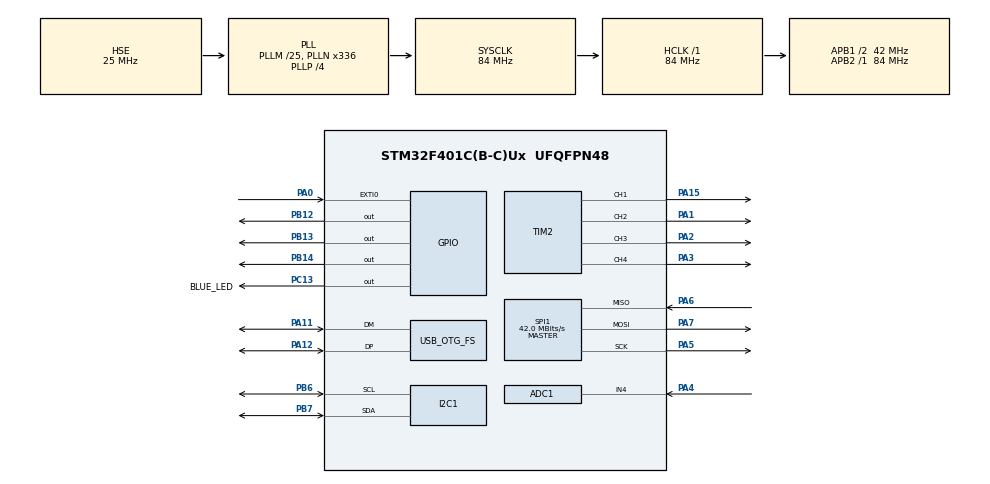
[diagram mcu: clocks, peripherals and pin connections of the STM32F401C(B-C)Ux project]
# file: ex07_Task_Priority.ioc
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ADC1.Channel-2\#ChannelRegularConversion=ADC_CHANNEL_4
ADC1.NbrOfConversionFlag=1
ADC1.Rank-2\#ChannelRegularConversion=1
ADC1.SamplingTime-2\#ChannelRegularConversion=ADC_SAMPLETIME_3CYCLES
ADC1.master=1
Mcu.Family=STM32F4
Mcu.Name=STM32F401C(B-C)Ux
Mcu.Package=UFQFPN48
NVIC.EXTI0_IRQn=true\:6\:0\:true\:false\:true\:true\:true\:true
NVIC.OTG_FS_IRQn=true\:0\:0\:true\:false\:true\:false\:true\:true
NVIC.PriorityGroup=NVIC_PRIORITYGROUP_4
NVIC.TIM1_UP_TIM10_IRQn=true\:15\:0\:false\:false\:true\:false\:true\:true
NVIC.TimeBase=TIM1_UP_TIM10_IRQn
NVIC.TimeBaseIP=TIM1
PA0-WKUP.GPIO_ModeDefaultEXTI=GPIO_MODE_IT_RISING
PA0-WKUP.GPIO_PuPd=GPIO_PULLUP
PA0-WKUP.Signal=GPXTI0
PA1.Signal=S_TIM2_CH2
PA11.Mode=Device_Only
PA11.Signal=USB_OTG_FS_DM
PA12.Mode=Device_Only
PA12.Signal=USB_OTG_FS_DP
PA13.Mode=Trace_Asynchronous_SW
PA13.Signal=SYS_JTMS-SWDIO
PA14.Mode=Trace_Asynchronous_SW
PA14.Signal=SYS_JTCK-SWCLK
PA15.Signal=S_TIM2_CH1_ETR
PA2.Signal=S_TIM2_CH3
PA3.Signal=S_TIM2_CH4
PA4.Signal=ADCx_IN4
PA5.Mode=Full_Duplex_Master
PA5.Signal=SPI1_SCK
PA6.Mode=Full_Duplex_Master
PA6.Signal=SPI1_MISO
PA7.Mode=Full_Duplex_Master
PA7.Signal=SPI1_MOSI
PB12.GPIO_PuPd=GPIO_PULLUP
PB12.PinState=GPIO_PIN_RESET
PB12.Signal=GPIO_Output
PB13.GPIO_PuPd=GPIO_PULLUP
PB13.PinState=GPIO_PIN_RESET
PB13.Signal=GPIO_Output
PB14.GPIO_PuPd=GPIO_PULLUP
PB14.PinState=GPIO_PIN_RESET
PB14.Signal=GPIO_Output
PB3.Mode=Trace_Asynchronous_SW
PB3.Signal=SYS_JTDO-SWO
PB6.Mode=I2C
PB6.Signal=I2C1_SCL
PB7.Mode=I2C
PB7.Signal=I2C1_SDA
PC13-ANTI_TAMP.GPIO_Label=BLUE_LED
PC13-ANTI_TAMP.GPIO_ModeDefaultOutputPP=GPIO_MODE_OUTPUT_OD
PC13-ANTI_TAMP.GPIO_PuPd=GPIO_NOPULL
PC13-ANTI_TAMP.PinState=GPIO_PIN_SET
PC13-ANTI_TAMP.Signal=GPIO_Output
PC14-OSC32_IN.Mode=LSE-External-Oscillator
PC14-OSC32_IN.Signal=RCC_OSC32_IN
PC15-OSC32_OUT.Mode=LSE-External-Oscillator
PC15-OSC32_OUT.Signal=RCC_OSC32_OUT
PH0\ -\ OSC_IN.Mode=HSE-External-Oscillator
PH0\ -\ OSC_IN.Signal=RCC_OSC_IN
PH1\ -\ OSC_OUT.Mode=HSE-External-Oscillator
PH1\ -\ OSC_OUT.Signal=RCC_OSC_OUT
ProjectManager.HeapSize=0x200
ProjectManager.StackSize=0x400
ProjectManager.TargetToolchain=STM32CubeIDE
RCC.48MHZClocksFreq_Value=48000000
RCC.AHBFreq_Value=84000000
RCC.APB1CLKDivider=RCC_HCLK_DIV2
RCC.APB1Freq_Value=42000000
RCC.APB1TimFreq_Value=84000000
RCC.APB2Freq_Value=84000000
RCC.APB2TimFreq_Value=84000000
RCC.CortexFreq_Value=84000000
RCC.HCLKFreq_Value=84000000
RCC.HSE_VALUE=25000000
RCC.HSI_VALUE=16000000
RCC.PLLM=25
RCC.PLLN=336
RCC.PLLP=RCC_PLLP_DIV4
RCC.PLLQ=7
RCC.SYSCLKFreq_VALUE=84000000
RCC.SYSCLKSource=RCC_SYSCLKSOURCE_PLLCLK
RCC.VCOOutputFreq_Value=336000000
SH.ADCx_IN4.0=ADC1_IN4,IN4
SH.S_TIM2_CH1_ETR.0=TIM2_CH1,PWM Generation1 CH1
SH.S_TIM2_CH2.0=TIM2_CH2,PWM Generation2 CH2
SH.S_TIM2_CH3.0=TIM2_CH3,PWM Generation3 CH3
SH.S_TIM2_CH4.0=TIM2_CH4,PWM Generation4 CH4
SPI1.BaudRatePrescaler=SPI_BAUDRATEPRESCALER_2
SPI1.CalculateBaudRate=42.0 MBits/s
SPI1.Direction=SPI_DIRECTION_2LINES
SPI1.Mode=SPI_MODE_MASTER
SPI1.VirtualType=VM_MASTER
TIM2.Channel-PWM\ Generation1\ CH1=TIM_CHANNEL_1
TIM2.Channel-PWM\ Generation2\ CH2=TIM_CHANNEL_2
TIM2.Channel-PWM\ Generation3\ CH3=TIM_CHANNEL_3
TIM2.Channel-PWM\ Generation4\ CH4=TIM_CHANNEL_4
USB_DEVICE.CLASS_NAME_FS=CDC
USB_DEVICE.VirtualMode=Cdc
USB_DEVICE.VirtualModeFS=Cdc_FS
USB_OTG_FS.VirtualMode=Device_Only
VP_SYS_VS_tim1.Mode=TIM1
VP_USB_DEVICE_VS_USB_DEVICE_CDC_FS.Mode=CDC_FS
board=custom

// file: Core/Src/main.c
/* USER CODE BEGIN Header */
/**
  ******************************************************************************
  * @file           : main.c
  * @brief          : Main program body
  ******************************************************************************
  * @attention
  *
  * Copyright (c) 2022 STMicroelectronics.
  * All rights reserved.
  *
  * This software is licensed under terms that can be found in the LICENSE file
  * in the root directory of this software component.
  * If no LICENSE file comes with this software, it is provided AS-IS.
  *
  ******************************************************************************
  */
/* USER CODE END Header */
#include "main.h"
#include "adc.h"
#include "i2c.h"
#include "spi.h"
#include "tim.h"
#include "usb_device.h"
#include "gpio.h"

/* USER CODE BEGIN Includes */
#include "dwt_delay.h"
#include "FreeRTOS.h"
#include "task.h"
#include "usbd_cdc_if.h"
/* USER CODE END Includes */

/* USER CODE BEGIN PV */
TaskHandle_t task1_handle;
TaskHandle_t task2_handle;
volatile BaseType_t status_button = 0;
/* USER CODE END PV */

void SystemClock_Config(void);
/* USER CODE BEGIN PFP */
static void task1_handler(void *parameters);
static void task2_handler(void *parameters);
/* USER CODE END PFP */

int main(void)
{
  /* USER CODE BEGIN 1 */
  BaseType_t status;
  /* USER CODE END 1 */

  /* MCU Configuration--------------------------------------------------------*/

  /* Reset of all peripherals, Initializes the Flash interface and the Systick. */
  HAL_Init();

  /* Configure the system clock */
  SystemClock_Config();

  /* Initialize all configured peripherals */
  MX_GPIO_Init();
  MX_ADC1_Init();
  MX_I2C1_Init();
  MX_SPI1_Init();
  MX_TIM2_Init();
  MX_USB_DEVICE_Init();
  /* USER CODE BEGIN 2 */
  SEGGER_UART_init(500000);
  DWT_Init();
  SEGGER_SYSVIEW_Conf();

  status = xTaskCreate(task1_handler, "task1", 200, NULL, 3, &task1_handle);
  configASSERT(status == pdPASS);

  status = xTaskCreate(task2_handler, "task2", 200, NULL, 2, &task2_handle);
  configASSERT(status == pdPASS);

  vTaskStartScheduler();
  /* USER CODE END 2 */

  /* Infinite loop */
  while (1)
  {

  }
}

void SystemClock_Config(void)
{
  RCC_OscInitTypeDef RCC_OscInitStruct = {0};
  RCC_ClkInitTypeDef RCC_ClkInitStruct = {0};

  /** Configure the main internal regulator output voltage
  */
  __HAL_RCC_PWR_CLK_ENABLE();
  __HAL_PWR_VOLTAGESCALING_CONFIG(PWR_REGULATOR_VOLTAGE_SCALE2);

  /** Initializes the RCC Oscillators according to the specified parameters
  * in the RCC_OscInitTypeDef structure.
  */
  RCC_OscInitStruct.OscillatorType = RCC_OSCILLATORTYPE_HSE;
  RCC_OscInitStruct.HSEState = RCC_HSE_ON;
  RCC_OscInitStruct.PLL.PLLState = RCC_PLL_ON;
  RCC_OscInitStruct.PLL.PLLSource = RCC_PLLSOURCE_HSE;
  RCC_OscInitStruct.PLL.PLLM = 25;
  RCC_OscInitStruct.PLL.PLLN = 336;
  RCC_OscInitStruct.PLL.PLLP = RCC_PLLP_DIV4;
  RCC_OscInitStruct.PLL.PLLQ = 7;
  if (HAL_RCC_OscConfig(&RCC_OscInitStruct) != HAL_OK)
  {
    Error_Handler();
  }

  /** Initializes the CPU, AHB and APB buses clocks
  */
  RCC_ClkInitStruct.ClockType = RCC_CLOCKTYPE_HCLK|RCC_CLOCKTYPE_SYSCLK
                              |RCC_CLOCKTYPE_PCLK1|RCC_CLOCKTYPE_PCLK2;
  RCC_ClkInitStruct.SYSCLKSource = RCC_SYSCLKSOURCE_PLLCLK;
  RCC_ClkInitStruct.AHBCLKDivider = RCC_SYSCLK_DIV1;
  RCC_ClkInitStruct.APB1CLKDivider = RCC_HCLK_DIV2;
  RCC_ClkInitStruct.APB2CLKDivider = RCC_HCLK_DIV1;

  if (HAL_RCC_ClockConfig(&RCC_ClkInitStruct, FLASH_LATENCY_2) != HAL_OK)
  {
    Error_Handler();
  }
}

/* USER CODE BEGIN 4 */
void button_interrupt_handler(void)
{
	traceISR_ENTER();
	status_button = 1;
	traceISR_EXIT();
}

void switch_priority(void)
{
	UBaseType_t p1, p2;
	TaskHandle_t t1, t2, curr;

	UBaseType_t switch_priority = 0;

	portENTER_CRITICAL();
	if (status_button) {
		status_button = 0;
		switch_priority = 1;
	}
	portEXIT_CRITICAL();

	if (switch_priority) {
		t1 = xTaskGetHandle("task1");
		t2 = xTaskGetHandle("task2");

		p1 = uxTaskPriorityGet(t1);
		p2 = uxTaskPriorityGet(t2);

		curr = xTaskGetCurrentTaskHandle();

		vTaskPrioritySet(t1, p2);
		vTaskPrioritySet(t2, p1);
	}
}

static void task1_handler(void *parameters)
{
	while(1) {
		HAL_GPIO_TogglePin(GPIOB, GPIO_PIN_13);
		HAL_Delay(1000);
		switch_priority();
	}
}

static void task2_handler(void *parameters)
{
	while(1) {
		HAL_GPIO_TogglePin(GPIOB, GPIO_PIN_14);
		HAL_Delay(200);
		switch_priority();
	}
}
/* USER CODE END 4 */

void HAL_TIM_PeriodElapsedCallback(TIM_HandleTypeDef *htim)
{
  if (htim->Instance == TIM1) {
    HAL_IncTick();
  }
}

void Error_Handler(void)
{
  __disable_irq();
  while (1)
  {
  }
}
